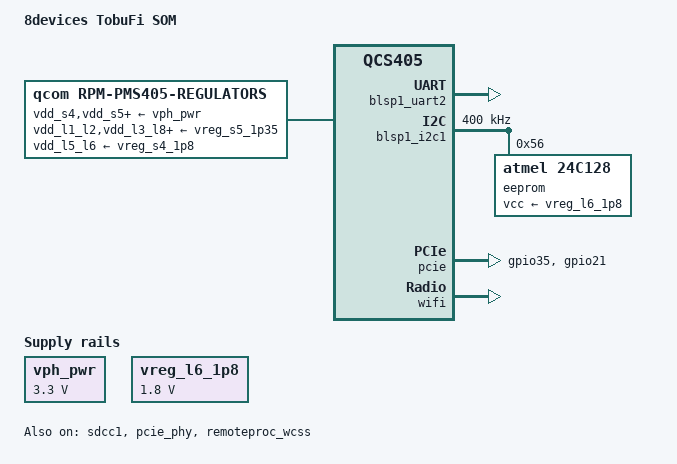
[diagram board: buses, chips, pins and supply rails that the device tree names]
// SPDX-License-Identifier: GPL-2.0
/*
 * Copyright (c) 2025 8Devices UAB
 */

#include "qcs405.dtsi"
#include "pms405.dtsi"
#include <dt-bindings/gpio/gpio.h>
#include <dt-bindings/pinctrl/qcom,pmic-gpio.h>

/ {
	model = "8devices TobuFi SOM";
	compatible = "8devices,tobufi", "qcom,qcs405";

	aliases {
		serial0 = &blsp1_uart2;
	};

	chosen {
		stdout-path = "serial0";
	};

	reserved-memory {
		memory@86400000 {
				reg = <0 0x86400000 0 0x1000000>;
		};

		memory@87500000 {
				reg = <0 0x87400000 0 0x1400000>;
		};

		memory@88f00000 {
				reg = <0 0x88800000 0 0x800000>;
		};

		memory@89500000 {
				reg = <0 0x89000000 0 0x100000>;
		};

		linux,cma {
			compatible = "shared-dma-pool";
			size = <0 0x4000000>;
			reusable;
			linux,cma-default;
		};
	};

	vph_pwr: regulator-3v3 {
		compatible = "regulator-fixed";
		regulator-name = "+3V3";
		regulator-min-microvolt = <3300000>;
		regulator-max-microvolt = <3300000>;
		regulator-always-on;
		regulator-boot-on;
	};

	vreg_l6_1p8: regulator-1v8 {
		compatible = "regulator-fixed";
		regulator-name = "+VREG_L6_1P8";
		regulator-min-microvolt = <1800000>;
		regulator-max-microvolt = <1800000>;
		regulator-always-on;
		regulator-boot-on;
	};
};

&pms405_spmi_regulators {
	vdd_s3-supply = <&vph_pwr>;

	pms405_s3: s3 {
		regulator-name = "+VREG_S3_1P225";
		regulator-min-microvolt = <1048000>;
		regulator-max-microvolt = <1384000>;
		regulator-always-on;
		regulator-boot-on;
		regulator-initial-mode = <1>;
	};
};

&rpm_requests {
	regulators {
		compatible = "qcom,rpm-pms405-regulators";
		vdd_s4-supply = <&vph_pwr>;
		vdd_s5-supply = <&vph_pwr>;
		vdd_l1_l2-supply = <&vreg_s5_1p35>;
		vdd_l3_l8-supply = <&vreg_s5_1p35>;
		vdd_l4-supply = <&vreg_s5_1p35>;
		vdd_l5_l6-supply = <&vreg_s4_1p8>;
		vdd_l10_l11_l12_l13-supply = <&vph_pwr>;

		vreg_s4_1p8: s4 {
			regulator-name = "+VREG_S4_1P8";
			/* datasheet spec 1.728 - 1.920 V */
			regulator-min-microvolt = <1896000>;
			regulator-max-microvolt = <1920000>;
		};

		vreg_s5_1p35: s5 {
			regulator-name = "+VREG_S5_1P35";
			/* datasheet spec 1.160 - 1.512 V */
			regulator-min-microvolt = <1352000>;
			regulator-max-microvolt = <1352000>;
		};

		vreg_l1_1p3: l1 {
			regulator-name = "+VREG_L1_1P3";
			/* datasheet spec 1.240 - 1.328 V */
			regulator-min-microvolt = <1300000>;
			regulator-max-microvolt = <1352000>;
		};

		vreg_l2_1p275: l2 {
			regulator-name = "+VREG_L2_1P275";
			/* datasheet spec 1.048 - 1.280 V */
			regulator-min-microvolt = <1200000>;
			regulator-max-microvolt = <1280000>;
		};

		vreg_l3_1p05: l3 {
			regulator-name = "+VREG_L3_1P05";
			/* datasheet spec 0.976 - 1.160 V */
			regulator-min-microvolt = <1050000>;
			regulator-max-microvolt = <1160000>;
		};

		vreg_l5_1p8: l5 {
			regulator-name = "+VREG_L5_1P8";
			regulator-min-microvolt = <1800000>;
			regulator-max-microvolt = <1800000>;
		};

		vreg_l11_sdc2: l11 {
			regulator-name = "+VREG_L11_SDC2";
			/* datasheet spec 1.800 - 3.304 V */
			regulator-min-microvolt = <2952000>;
			regulator-max-microvolt = <3050000>;
		};
	};
};

&tlmm {
	pcie_default: pcie-default-state {
		perst-pins {
			pins = "gpio35";
			function = "gpio";
			bias-disable;
			drive-strength = <2>;
			output-low;
		};

		wake-pins {
			pins = "gpio21";
			function = "gpio";
			bias-disable;
			drive-strength = <2>;
			output-low;
		};
	};

	sdc1_default: sdc1-default-state {
		clk-pins {
			pins = "sdc1_clk";
			bias-disable;
			drive-strength = <16>;
		};

		cmd-pins {
			pins = "sdc1_cmd";
			bias-pull-up;
			drive-strength = <10>;
		};

		data-pins {
			pins = "sdc1_data";
			bias-pull-up;
			drive-strength = <10>;
		};

		rclk-pins {
			pins = "sdc1_rclk";
			bias-pull-down;
		};
	};

	sdc1_sleep: sdc1-sleep-state {
		clk-pins {
			pins = "sdc1_clk";
			bias-disable;
			drive-strength = <2>;
		};

		cmd-pins {
			pins = "sdc1_cmd";
			bias-pull-up;
			drive-strength = <2>;
		};

		data-pins {
			pins = "sdc1_data";
			bias-pull-up;
			drive-strength = <2>;
		};

		rclk-pins {
			pins = "sdc1_rclk";
			bias-pull-down;
		};
	};

	sdc2_default: sdc2-default-state {
		clk-pins {
			pins = "sdc2_clk";
			bias-disable;
			drive-strength = <16>;
		};

		cmd-pins {
			pins = "sdc2_cmd";
			bias-pull-up;
			drive-strength = <10>;
		};

		data-pins {
			pins = "sdc2_data";
			bias-pull-up;
			drive-strength = <10>;
		};
	};

	sdc2_sleep: sdc2-sleep-state {
		clk-pins {
			pins = "sdc2_clk";
			bias-disable;
			drive-strength = <2>;
		};

		cmd-pins {
			pins = "sdc2_cmd";
			bias-pull-up;
			drive-strength = <2>;
		};

		data-pins {
			pins = "sdc2_data";
			bias-pull-up;
			drive-strength = <2>;
		};
	};
};

&gcc {
	protected-clocks = <GCC_BIMC_CDSP_CLK>,
			   <GCC_CDSP_CFG_AHB_CLK>,
			   <GCC_CDSP_BIMC_CLK_SRC>,
			   <GCC_CDSP_TBU_CLK>,
			   <GCC_WCSS_Q6_AHB_CLK>,
			   <GCC_WCSS_Q6_AXIM_CLK>;
};

&blsp1_dma {
	qcom,controlled-remotely;
	status = "okay";
};

&blsp1_uart2 {
	status = "okay";
};

&blsp1_uart2_default {
	rx-pins {
		bias-disable;
		drive-strength = <2>;
	};

	tx-pins {
		bias-disable;
		drive-strength = <2>;
	};
};

&blsp1_i2c1 {
	clock-frequency = <400000>;
	status = "okay";

	eeprom@56 {
		compatible = "atmel,24c128";
		reg = <0x56>;
		pagesize = <64>;
		vcc-supply = <&vreg_l6_1p8>;
	};
};

&sdcc1 {
	pinctrl-names = "default", "sleep";
	pinctrl-0 = <&sdc1_default>;
	pinctrl-1 = <&sdc1_sleep>;
	bus-width = <8>;
	non-removable;
	mmc-ddr-1_8v;
	mmc-hs400-1_8v;
	supports-cqe;
	status = "okay";
};

&sdcc2 {
	pinctrl-names = "default", "sleep";
	pinctrl-0 = <&sdc2_default>;
	pinctrl-1 = <&sdc2_sleep>;
	bus-width = <4>;
	post-power-on-delay-ms = <100>;
	vqmmc-supply = <&vreg_l11_sdc2>;
};

&pcie {
	perst-gpios = <&tlmm 35 GPIO_ACTIVE_LOW>;
	wake-gpios = <&tlmm 21 GPIO_ACTIVE_LOW>;
	pinctrl-names = "default";
	pinctrl-0 = <&pcie_default>;
	status = "okay";
};

&pcie_phy {
	vdda-vp-supply = <&vreg_l3_1p05>;
	vdda-vph-supply = <&vreg_l5_1p8>;
	status = "okay";
};

&wifi {
	vdd-0.8-cx-mx-supply = <&vreg_l2_1p275>;
	vdd-1.8-xo-supply = <&vreg_l5_1p8>;
	vdd-1.3-rfa-supply = <&vreg_l1_1p3>;
	qcom,msa-fixed-perm;
	status = "okay";
};

&remoteproc_wcss {
	firmware-name = "ath10k/WCN3990/hw1.0/qdsp6sw.mbn";
	status = "okay";
};
